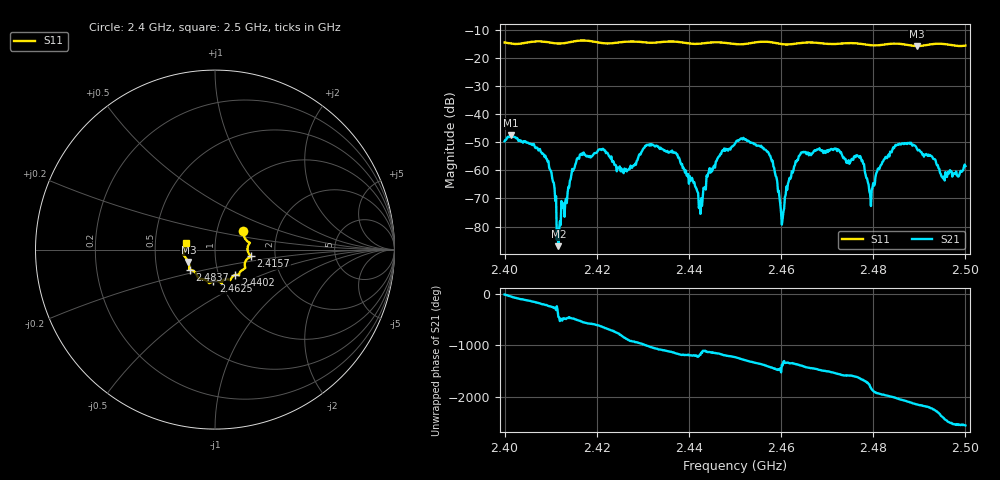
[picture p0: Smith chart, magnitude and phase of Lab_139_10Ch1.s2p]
# Hz S RI R 50
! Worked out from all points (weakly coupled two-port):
!   601 points, 2.4 GHz to 2.5 GHz, reference 50 ohm
!   highest |S21| = -47.46 dB at 2.4013 GHz (marker M1); lowest = -87.0 dB at 2.4117 GHz (marker M2)
!   lowest |S11| = -15.7 dB at 2.4895 GHz (marker M3), VSWR 1.39, Z = 36.8 - j5.16 ohm
!   |S11| at or under -10 dB: start of sweep to end of sweep
!   S12 and S22 are empty: the file has one direction only
!   S11 on the Smith chart (normalised r, x): 2.4 GHz: 1.34, +0.29; 2.4157 GHz: 1.49, -0.11; 2.4402 GHz: 1.20, -0.35; 2.4625 GHz: 0.92, -0.34; 2.4837 GHz: 0.74, -0.17; 2.5 GHz: 0.72, +0.05
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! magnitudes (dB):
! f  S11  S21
! 2.4 GHz  -14.4  -49.6
! 2.4013 GHz  -14.8  -47.5
! 2.409 GHz  -14.3  -55.7
! 2.4117 GHz  -14.8  -87.0
! 2.4157 GHz  -13.9  -56.1
! 2.4167 GHz  -13.7  -54.0
! 2.426 GHz  -14.2  -59.4
! 2.4333 GHz  -14.4  -51.5
! 2.4402 GHz  -14.8  -62.0
! 2.4425 GHz  -14.9  -75.5
! 2.45 GHz  -15.0  -50.4
! 2.4572 GHz  -14.2  -53.4
! 2.4602 GHz  -15.0  -79.3
! 2.4625 GHz  -15.0  -60.9
! 2.4667 GHz  -14.5  -54.0
! 2.4768 GHz  -14.8  -55.1
! 2.4797 GHz  -15.5  -67.0
! 2.4833 GHz  -15.0  -54.4
! 2.4837 GHz  -14.9  -53.4
! 2.4895 GHz  -15.7  -52.4
! 2.495 GHz  -14.9  -62.4
! 2.5 GHz  -15.6  -58.5
